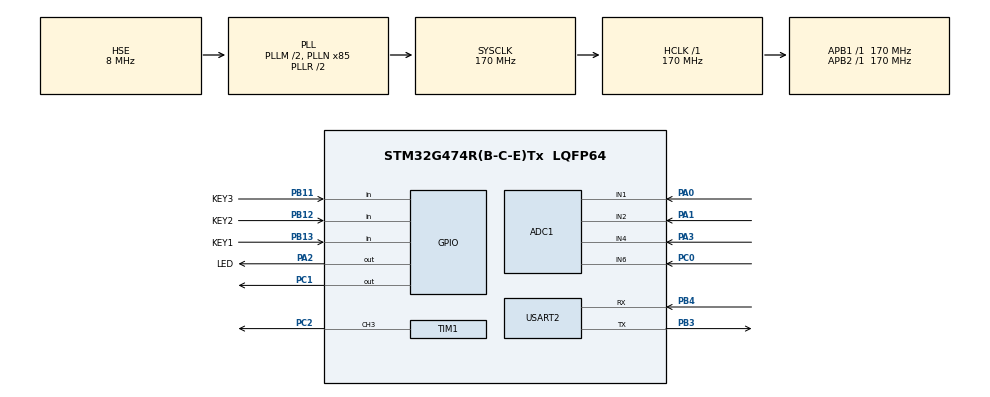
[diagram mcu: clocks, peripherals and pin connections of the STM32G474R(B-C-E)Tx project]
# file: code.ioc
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ADC1.Channel-5\#ChannelRegularConversion=ADC_CHANNEL_1
ADC1.Channel-6\#ChannelRegularConversion=ADC_CHANNEL_2
ADC1.Channel-7\#ChannelRegularConversion=ADC_CHANNEL_4
ADC1.Channel-8\#ChannelRegularConversion=ADC_CHANNEL_6
ADC1.ClockPrescaler=ADC_CLOCK_ASYNC_DIV4
ADC1.ContinuousConvMode=ENABLE
ADC1.DMAContinuousRequests=ENABLE
ADC1.DiscontinuousConvMode=DISABLE
ADC1.ExternalTrigConv=ADC_EXTERNALTRIG_T1_TRGO
ADC1.ExternalTrigConvEdge=ADC_EXTERNALTRIGCONVEDGE_RISINGFALLING
ADC1.NbrOfConversion=4
ADC1.NbrOfConversionFlag=1
ADC1.OffsetNumber-5\#ChannelRegularConversion=ADC_OFFSET_NONE
ADC1.OffsetNumber-6\#ChannelRegularConversion=ADC_OFFSET_NONE
ADC1.OffsetNumber-7\#ChannelRegularConversion=ADC_OFFSET_NONE
ADC1.OffsetNumber-8\#ChannelRegularConversion=ADC_OFFSET_NONE
ADC1.OversamplingMode=ENABLE
ADC1.Rank-5\#ChannelRegularConversion=1
ADC1.Rank-6\#ChannelRegularConversion=2
ADC1.Rank-7\#ChannelRegularConversion=3
ADC1.Rank-8\#ChannelRegularConversion=4
ADC1.Ratio=ADC_OVERSAMPLING_RATIO_16
ADC1.RightBitShift=ADC_RIGHTBITSHIFT_4
ADC1.SamplingTime-5\#ChannelRegularConversion=ADC_SAMPLETIME_2CYCLES_5
ADC1.SamplingTime-6\#ChannelRegularConversion=ADC_SAMPLETIME_2CYCLES_5
ADC1.SamplingTime-7\#ChannelRegularConversion=ADC_SAMPLETIME_2CYCLES_5
ADC1.SamplingTime-8\#ChannelRegularConversion=ADC_SAMPLETIME_2CYCLES_5
ADC1.master=1
Dma.ADC1.0.Direction=DMA_PERIPH_TO_MEMORY
Dma.ADC1.0.EventEnable=DISABLE
Dma.ADC1.0.Instance=DMA1_Channel1
Dma.ADC1.0.MemDataAlignment=DMA_MDATAALIGN_HALFWORD
Dma.ADC1.0.MemInc=DMA_MINC_ENABLE
Dma.ADC1.0.Mode=DMA_CIRCULAR
Dma.ADC1.0.PeriphDataAlignment=DMA_PDATAALIGN_HALFWORD
Dma.ADC1.0.PeriphInc=DMA_PINC_DISABLE
Dma.ADC1.0.Polarity=HAL_DMAMUX_REQ_GEN_RISING
Dma.ADC1.0.Priority=DMA_PRIORITY_LOW
Dma.ADC1.0.RequestNumber=1
Dma.ADC1.0.SignalID=NONE
Dma.ADC1.0.SyncEnable=DISABLE
Dma.ADC1.0.SyncPolarity=HAL_DMAMUX_SYNC_NO_EVENT
Dma.ADC1.0.SyncRequestNumber=1
Dma.ADC1.0.SyncSignalID=NONE
Dma.Request0=ADC1
Mcu.Family=STM32G4
Mcu.Name=STM32G474R(B-C-E)Tx
Mcu.Package=LQFP64
NVIC.DMA1_Channel1_IRQn=true\:0\:0\:false\:false\:true\:false\:true\:true
NVIC.PriorityGroup=NVIC_PRIORITYGROUP_4
NVIC.TIM3_IRQn=true\:3\:0\:true\:false\:true\:true\:true\:true
PA0.Mode=IN1-Single-Ended
PA0.Signal=ADC1_IN1
PA1.Mode=IN2-Single-Ended
PA1.Signal=ADC1_IN2
PA13.Mode=Serial_Wire
PA13.Signal=SYS_JTMS-SWDIO
PA14.Mode=Serial_Wire
PA14.Signal=SYS_JTCK-SWCLK
PA2.GPIO_Label=LED
PA2.Signal=GPIO_Output
PA3.Mode=IN4-Single-Ended
PA3.Signal=ADC1_IN4
PB11.GPIO_Label=KEY3
PB11.GPIO_PuPd=GPIO_PULLUP
PB11.Signal=GPIO_Input
PB12.GPIO_Label=KEY2
PB12.GPIO_PuPd=GPIO_PULLUP
PB12.Signal=GPIO_Input
PB13.GPIO_Label=KEY1
PB13.GPIO_PuPd=GPIO_PULLUP
PB13.Signal=GPIO_Input
PB3.Mode=Asynchronous
PB3.Signal=USART2_TX
PB4.Mode=Asynchronous
PB4.Signal=USART2_RX
PC0.Mode=IN6-Single-Ended
PC0.Signal=ADC1_IN6
PC1.Signal=GPIO_Output
PC14-OSC32_IN.Mode=LSE-External-Oscillator
PC14-OSC32_IN.Signal=RCC_OSC32_IN
PC15-OSC32_OUT.Mode=LSE-External-Oscillator
PC15-OSC32_OUT.Signal=RCC_OSC32_OUT
PC2.Signal=S_TIM1_CH3
PF0-OSC_IN.Mode=HSE-External-Oscillator
PF0-OSC_IN.Signal=RCC_OSC_IN
PF1-OSC_OUT.Mode=HSE-External-Oscillator
PF1-OSC_OUT.Signal=RCC_OSC_OUT
ProjectManager.HeapSize=0x200
ProjectManager.StackSize=0x400
ProjectManager.TargetToolchain=MDK-ARM V5.32
RCC.ADC12Freq_Value=170000000
RCC.ADC345Freq_Value=170000000
RCC.AHBFreq_Value=170000000
RCC.APB1Freq_Value=170000000
RCC.APB1TimFreq_Value=170000000
RCC.APB2Freq_Value=170000000
RCC.APB2TimFreq_Value=170000000
RCC.CortexFreq_Value=170000000
RCC.EXTERNAL_CLOCK_VALUE=12288000
RCC.HCLKFreq_Value=170000000
RCC.HSE_VALUE=8000000
RCC.HSI48_VALUE=48000000
RCC.HSI_VALUE=16000000
RCC.PLLM=RCC_PLLM_DIV2
RCC.PLLN=85
RCC.PLLSourceVirtual=RCC_PLLSOURCE_HSE
RCC.PREFETCH_ENABLE=1
RCC.RTCClockSelection=RCC_RTCCLKSOURCE_LSE
RCC.SYSCLKFreq_VALUE=170000000
RCC.SYSCLKSource=RCC_SYSCLKSOURCE_PLLCLK
RCC.USBFreq_Value=170000000
RCC.VCOOutputFreq_Value=340000000
SH.S_TIM1_CH3.0=TIM1_CH3,PWM Generation3 CH3
TIM1.AutoReloadPreload=TIM_AUTORELOAD_PRELOAD_ENABLE
TIM1.Channel-PWM\ Generation3\ CH3=TIM_CHANNEL_3
TIM1.CounterMode=TIM_COUNTERMODE_CENTERALIGNED3
TIM1.OCMode_PWM-PWM\ Generation3\ CH3=TIM_OCMODE_PWM1
TIM1.PeriodNoDither=8499
TIM1.PulseNoDither_3=4250
TIM1.TIM_MasterOutputTrigger=TIM_TRGO_UPDATE
TIM1.TIM_MasterOutputTrigger2=TIM_TRGO2_RESET
TIM1.TIM_MasterSlaveMode=TIM_MASTERSLAVEMODE_ENABLE
TIM3.PeriodNoDither=999
TIM3.Prescaler=169
USART2.VirtualMode-Asynchronous=VM_ASYNC
VP_RTC_VS_RTC_Activate.Mode=RTC_Enabled
VP_SYS_VS_DBSignals.Mode=DisableDeadBatterySignals
VP_TIM1_VS_ClockSourceINT.Mode=Internal
VP_TIM3_VS_ClockSourceINT.Mode=Internal
board=custom

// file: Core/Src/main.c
/* USER CODE BEGIN Header */
/**
  ******************************************************************************
  * @file           : main.c
  * @brief          : Main program body
  ******************************************************************************
  * @attention
  *
  * Copyright (c) 2025 STMicroelectronics.
  * All rights reserved.
  *
  * This software is licensed under terms that can be found in the LICENSE file
  * in the root directory of this software component.
  * If no LICENSE file comes with this software, it is provided AS-IS.
  *
  ******************************************************************************
  */
/* USER CODE END Header */
#include "main.h"
#include "adc.h"
#include "dma.h"
#include "rtc.h"
#include "tim.h"
#include "usart.h"
#include "gpio.h"

/* USER CODE BEGIN Includes */
#include <stdio.h>
#include <string.h>
#include "ADC_Filter.h"
#include "pi_control.h"
/* USER CODE END Includes */

/* USER CODE BEGIN PD */
#define LED_FLASH_INTERVAL 200   // LED闪烁间隔200ms
#define ADC_CHANNELS       4     // 4个ADC通道
#define SAMPLES_PER_PWM    2     // 中央对齐1个PWM周期采样2次
#define PWM_CYCLES         1     // 缓存1个PWM周期数据
#define BUFFER_LENGTH      (ADC_CHANNELS * SAMPLES_PER_PWM * PWM_CYCLES) // 8个数据

// KEY1按键配置（匹配你的硬件：PC1、上拉输入）
#define KEY1_PIN           GPIO_PIN_13
#define KEY1_PORT          GPIOB
#define KEY1_PRESSED       0           // 按键按下为低电平（上拉输入）
#define KEY_DEBOUNCE_MS    50          // 增大消抖时间到50ms，抗干扰
#define CURRENT_STEP       0.1f        // 电流步进值（宏定义，避免浮点魔法数）
#define CURRENT_MAX        1.5f        // 最大电流
#define CURRENT_MIN        1.0f        // 最小电流
/* USER CODE END PD */

/* USER CODE BEGIN PM */
// 浮点值比较宏（解决精度问题）
#define FLOAT_EQ(a, b) (fabs((a) - (b)) < 0.001f)
/* USER CODE END PM */

/* USER CODE BEGIN PV */
volatile uint32_t sys_tick_ms = 0;
uint32_t last_led_tick = 0;
uint8_t led_state = 0;
float buck_duty = 0.5f;  // 占空比0~1
ControlData buck_control_data;
// ADC采样缓冲区
uint16_t adc_sample_buffer[BUFFER_LENGTH] = {0};
// DMA传输完成标志
volatile uint8_t adc_dma_complete_flag = 0;

// 按键相关变量
uint32_t last_key1_tick = 0;          // 按键消抖计时
uint8_t key1_state = 0;               // 按键状态（0：未按下，1：已按下）
// 核心修复：显式定义并初始化期望电流（避免内存随机值）
float BUCK_I_CHARGE_REF = CURRENT_MIN;

volatile uint16_t ch1_sample1 = 0;
volatile uint16_t ch1_sample2 = 0;
volatile uint16_t ch2_sample1 = 0;
volatile uint16_t ch2_sample2 = 0;
volatile uint16_t ch4_sample1 = 0;
volatile uint16_t ch4_sample2 = 0;
volatile uint16_t ch6_sample1 = 0;
volatile uint16_t ch6_sample2 = 0;

/* USER CODE END PV */

void SystemClock_Config(void);
/* USER CODE BEGIN PFP */
// 新增：按键扫描函数（封装逻辑，便于调试）
uint8_t KEY1_Scan(void);
/* USER CODE END PFP */

/* USER CODE BEGIN 0 */
// TIM3中断回调函数（1ms系统滴答）
void HAL_TIM_PeriodElapsedCallback(TIM_HandleTypeDef *htim)
{
    if (htim->Instance == TIM3)
    {
        sys_tick_ms++;  // 仅保留1ms系统滴答
    }
}

// ADC DMA传输完成回调函数
void HAL_ADC_ConvCpltCallback(ADC_HandleTypeDef* hadc)
{
    if(hadc->Instance == ADC1)
    {
        // 步骤1：快速解析缓冲区数据（纯内存操作，耗时<1μs）
        ch1_sample1 = adc_sample_buffer[0];
        ch1_sample2 = adc_sample_buffer[4];
        ch2_sample1 = adc_sample_buffer[1];
        ch2_sample2 = adc_sample_buffer[5];
        ch4_sample1 = adc_sample_buffer[2];
        ch4_sample2 = adc_sample_buffer[6];
        ch6_sample1 = adc_sample_buffer[3];
        ch6_sample2 = adc_sample_buffer[7];

        float adc_1=(ch1_sample1+ch1_sample2)/2.0f;

        ADC_Calculate_Current1 (adc_1);

        filtered_current1= smooth_sum_filter1(current1);  //电感电流

        buck_duty = BUCK_Charge_Control(&buck_control_data, 0.0f, filtered_current1, 0.0f);

        // 2. 适配PWM Mode 1的CCR计算（TIM1 ARR=8499）
        uint16_t arr = htim1.Init.Period; // 获取TIM1的ARR值（8499）
        uint16_t ccr_value = (uint16_t)(buck_duty * (arr + 1)); // 核心映射公式

        // 3. 安全防护：确保CCR值不超出定时器范围
        if (ccr_value > arr) ccr_value = arr;

        // 4. 更新TIM1通道3的PWM占空比
        __HAL_TIM_SET_COMPARE(&htim1, TIM_CHANNEL_3, ccr_value);
    }
}

// 按键扫描函数（带消抖、防重复触发）
uint8_t KEY1_Scan(void)
{
    static uint8_t key_flag = 0; // 静态变量，记录按键触发状态
    uint8_t ret = 0;

    // 1. 检测按键硬件状态
    if (HAL_GPIO_ReadPin(KEY1_PORT, KEY1_PIN) == KEY1_PRESSED)
    {
        // 2. 消抖延时
        HAL_Delay(10); // 硬件消抖（短延时）
        if (HAL_GPIO_ReadPin(KEY1_PORT, KEY1_PIN) == KEY1_PRESSED)
        {
            // 3. 防重复触发：仅第一次按下时返回1
            if (key_flag == 0)
            {
                key_flag = 1;
                ret = 1;
            }
        }
    }
    else
    {
        // 按键松开，重置标志
        key_flag = 0;
    }
    return ret;
}
/* USER CODE END 0 */

int main(void)
{

  /* MCU Configuration--------------------------------------------------------*/

  /* Reset of all peripherals, Initializes the Flash interface and the Systick. */
  HAL_Init();

  /* Configure the system clock */
  SystemClock_Config();

  /* Initialize all configured peripherals */
  MX_GPIO_Init();
  MX_DMA_Init();
  MX_RTC_Init();
  MX_ADC1_Init();
  MX_USART2_UART_Init();
  MX_TIM3_Init();
  MX_TIM1_Init();
  /* USER CODE BEGIN 2 */
  // 初始化ADC滤波
  ADC_Filter_Init();

  // 显式初始化期望输出电流（双重保障）
  BUCK_I_CHARGE_REF = CURRENT_MIN;

  // 初始化BUCK控制结构体
  ControlData_Init(&buck_control_data);

  // 1. 启动TIM3（1ms系统滴答）
  HAL_TIM_Base_Start_IT(&htim3);

  // 2. ADC校准（提升采样精度）
  if (HAL_ADCEx_Calibration_Start(&hadc1,  ADC_SINGLE_ENDED) != HAL_OK)
  {
    Error_Handler();
  }

  // 3. 启动ADC+DMA采样
  if (HAL_ADC_Start_DMA(&hadc1, (uint32_t*)adc_sample_buffer, BUFFER_LENGTH) != HAL_OK)
  {
    Error_Handler();
  }

  // 启动TIM1和PWM输出，并设置初始50%占空比
  HAL_TIM_Base_Start_IT(&htim1);
  HAL_TIM_PWM_Start(&htim1, TIM_CHANNEL_3);
  uint16_t init_ccr = (uint16_t)(0.5f * (htim1.Init.Period + 1));
  __HAL_TIM_SET_COMPARE(&htim1, TIM_CHANNEL_3, init_ccr);

	//初始化gpioc1
	HAL_GPIO_WritePin(GPIOC,GPIO_PIN_1,GPIO_PIN_SET);
  /* USER CODE END 2 */

  /* Infinite loop */
  while (1)
  {

    /* USER CODE BEGIN 3 */
    // LED翻转逻辑（验证程序运行）
    if (sys_tick_ms - last_led_tick >= LED_FLASH_INTERVAL)
    {
        last_led_tick = sys_tick_ms;
        led_state = !led_state;
        HAL_GPIO_WritePin(GPIOA, GPIO_PIN_3, led_state ? GPIO_PIN_SET : GPIO_PIN_RESET);
    }

    // KEY1按键处理逻辑（重构：更健壮的状态机）
if (KEY1_Scan() == 1) // 仅当按键真的按下时触发
{
    // 期望电流+0.1A
    BUCK_I_CHARGE_REF += CURRENT_STEP;

    // 修复：用整数化比较，彻底避免浮点精度问题
    // 把电流值放大10倍转成整数，再比较
    int current_scaled = (int)(BUCK_I_CHARGE_REF * 10 + 0.5f); // 四舍五入
    int max_scaled = (int)(CURRENT_MAX * 10);

    if (current_scaled > max_scaled)
    {
        BUCK_I_CHARGE_REF = CURRENT_MIN; // 重置为1A
    }

}

    // 串口打印数据（包含期望电流）
    printf("%.3f,%.3f,%.3f,%.3f,%.3f \r\n",adc_volt1,current1,filtered_current1, BUCK_I_CHARGE_REF,buck_duty);

  }
  /* USER CODE END 3 */
}

void SystemClock_Config(void)
{
  RCC_OscInitTypeDef RCC_OscInitStruct = {0};
  RCC_ClkInitTypeDef RCC_ClkInitStruct = {0};

  /** Configure the main internal regulator output voltage
  */
  HAL_PWREx_ControlVoltageScaling(PWR_REGULATOR_VOLTAGE_SCALE1_BOOST);

  /** Configure LSE Drive Capability
  */
  HAL_PWR_EnableBkUpAccess();
  __HAL_RCC_LSEDRIVE_CONFIG(RCC_LSEDRIVE_LOW);

  /** Initializes the RCC Oscillators according to the specified parameters
  * in the RCC_OscInitTypeDef structure.
  */
  RCC_OscInitStruct.OscillatorType = RCC_OSCILLATORTYPE_HSE|RCC_OSCILLATORTYPE_LSE;
  RCC_OscInitStruct.HSEState = RCC_HSE_ON;
  RCC_OscInitStruct.LSEState = RCC_LSE_ON;
  RCC_OscInitStruct.PLL.PLLState = RCC_PLL_ON;
  RCC_OscInitStruct.PLL.PLLSource = RCC_PLLSOURCE_HSE;
  RCC_OscInitStruct.PLL.PLLM = RCC_PLLM_DIV2;
  RCC_OscInitStruct.PLL.PLLN = 85;
  RCC_OscInitStruct.PLL.PLLP = RCC_PLLP_DIV2;
  RCC_OscInitStruct.PLL.PLLQ = RCC_PLLQ_DIV2;
  RCC_OscInitStruct.PLL.PLLR = RCC_PLLR_DIV2;
  if (HAL_RCC_OscConfig(&RCC_OscInitStruct) != HAL_OK)
  {
    Error_Handler();
  }

  /** Initializes the CPU, AHB and APB buses clocks
  */
  RCC_ClkInitStruct.ClockType = RCC_CLOCKTYPE_HCLK|RCC_CLOCKTYPE_SYSCLK
                              |RCC_CLOCKTYPE_PCLK1|RCC_CLOCKTYPE_PCLK2;
  RCC_ClkInitStruct.SYSCLKSource = RCC_SYSCLKSOURCE_PLLCLK;
  RCC_ClkInitStruct.AHBCLKDivider = RCC_SYSCLK_DIV1;
  RCC_ClkInitStruct.APB1CLKDivider = RCC_HCLK_DIV1;
  RCC_ClkInitStruct.APB2CLKDivider = RCC_HCLK_DIV1;

  if (HAL_RCC_ClockConfig(&RCC_ClkInitStruct, FLASH_LATENCY_4) != HAL_OK)
  {
    Error_Handler();
  }
}

void Error_Handler(void)
{
  /* USER CODE BEGIN Error_Handler_Debug */
  /* User can add his own implementation to report the HAL error return state */
  __disable_irq();
  while (1)
  {
    // 错误时LED常亮
    HAL_GPIO_WritePin(GPIOA, GPIO_PIN_2, GPIO_PIN_SET);
  }
  /* USER CODE END Error_Handler_Debug */
}
